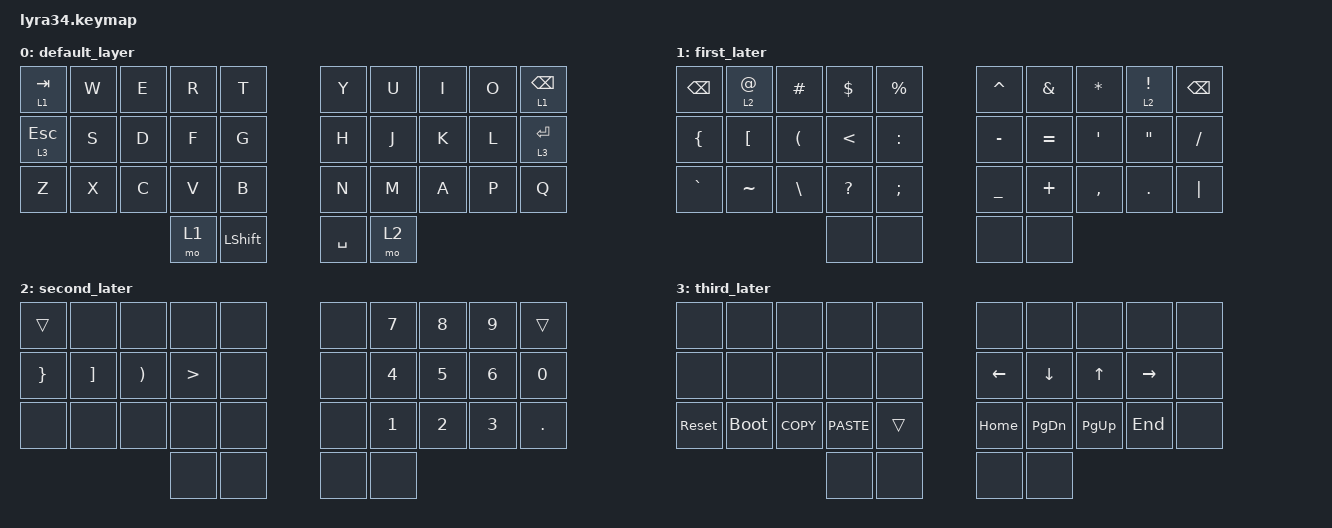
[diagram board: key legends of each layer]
/*
 * Copyright (c) 2020 The ZMK Contributors
 *
 * SPDX-License-Identifier: MIT
 */

#include <behaviors.dtsi>
#include <dt-bindings/zmk/keys.h>



#define DEFAULT 0
#define FIRST 1
#define SECOND 2
#define THIRD 3



/ {

        behaviors {
            mhp: behavior_mo_tap {
                compatible = "zmk,behavior-hold-tap";
                #binding-cells = <2>;
                flavor = "hold-preferred";
                tapping-term-ms = <200>;
                bindings = <&mo>, <&kp>;
            };
        };

       combos {
            compatible = "zmk,combos";
            combo_lgui {
                timeout-ms = <50>;
                key-positions = <1 2>;
                bindings = <&kp LGUI>;
                layers = <0>;
            };
            combo_lctl {
                timeout-ms = <50>;
                key-positions = <11 12>;
                bindings = <&kp LCTRL>;
                layers = <0>;
            };
            combo_lalt {
                timeout-ms = <50>;
                key-positions = <21 22>;
                bindings = <&kp LALT>;
                layers = <0>;
            };
            combo_rgui {
                timeout-ms = <50>;
                key-positions = <7 8>;
                bindings = <&kp RGUI>;
                layers = <0>;
            };
            combo_rctrl {
                timeout-ms = <50>;
                key-positions = <17 18>;
                bindings = <&kp RCTRL>;
                layers = <0>;
            };
            combo_ratl {
                timeout-ms = <50>;
                key-positions = <27 28>;
                bindings = <&kp RALT>;
                layers = <0>;
            };
            combo_rnum {
                timeout-ms = <50>;
                key-positions = <8 9>;
                bindings = <&mo 2>;
                layers = <0>;
            };
            combo_lnum {
                timeout-ms = <50>;
                key-positions = <0 1>;
                bindings = <&mo 2>;
                slow-release;
                layers = <0>;
            };
        };

        keymap {
                compatible = "zmk,keymap";
		
                default_layer {
                	bindings = <

   &mhp 1 TAB    &kp W  &kp E  &kp R  &kp T           &kp Y   &kp U  &kp I    &kp O    &mhp 1 BSPC     
   &mhp 3 ESC  &kp S  &kp D  &kp F  &kp G           &kp H   &kp J  &kp K    &kp L    &mhp 3 RET  
   &kp Z      &kp X  &kp C  &kp V  &kp B           &kp N   &kp M  &kp A &kp P  &kp Q 
                            &mo 1  &kp LSHIFT      &kp SPACE      &mo 2 
                         >;
                };

                first_later {
                	bindings = <
   &kp BSPC   &mhp 2 AT  &kp HASH  &kp DLLR   &kp PRCNT  &kp CARET  &kp AMPS  &kp STAR   &mhp 2 EXCL  &kp BSPC
   &kp LBRC   &kp LBKT   &kp LPAR  &kp LT     &kp COLON  &kp MINUS  &kp EQUAL &kp SQT    &kp DQT      &kp FSLH
   &kp GRAVE  &kp TILDE  &kp BSLH  &kp QMARK  &kp SEMI   &kp UNDER  &kp PLUS  &kp COMMA  &kp DOT      &kp PIPE
                            &none  &none  &none  &none 
                         >;
                };
                second_later {
                	bindings = <
   &trans    &none     &none     &none   &none   &none   &kp N7  &kp N8  &kp N9  &trans 
   &kp RBRC  &kp RBKT  &kp RPAR  &kp GT  &none   &none   &kp N4  &kp N5  &kp N6  &kp N0 
   &none     &none     &none     &none   &none   &none   &kp N1  &kp N2  &kp N3  &kp DOT
                            &none  &none  &none  &none 
                         >;
                };

                third_later {
                	bindings = <
   &none       &none        &none       &none        &none     &none     &none      &none      &none      &none   
   &none       &none        &none       &none        &none     &kp LEFT  &kp DOWN   &kp UP     &kp RIGHT  &none  
   &sys_reset  &bootloader  &kp K_COPY  &kp K_PASTE  &trans    &kp HOME  &kp PG_DN  &kp PG_UP  &kp END    &none  
                            &none       &none  &none &none 
                         >;
                };

        };
};



